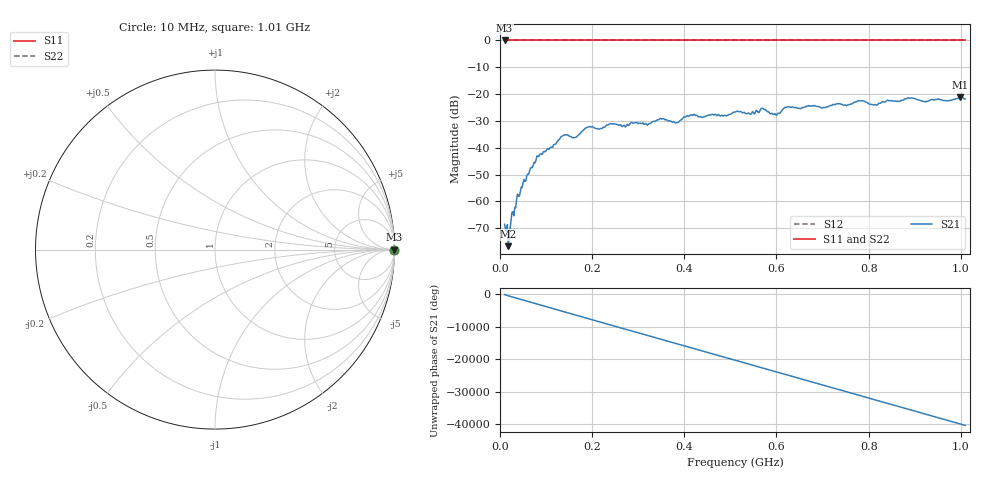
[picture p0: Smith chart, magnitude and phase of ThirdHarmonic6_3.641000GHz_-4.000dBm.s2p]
! 8/17/2025 12:14:01 PM
! C:\ANRITSUVNA\TEMP\TEMP.S2P
! CHANNEL.1
! TR.MEASUREMENT
! RAW.DATA
! RF.CORRECTION.OFF
! AVERAGING.OFF
! IF.BANDWIDTH: 5KHZ
! SWEEPTYPE:  FREQ.SWEEP(Linear)
! Reference Plane Port Info
! PORT:  PORT1  PORT2
! DISTANCE:  0  m  0  m
! TIME:  0  s  0  s
! PHASE.OFFSET:  0  deg.  0  deg.
! LOSS:  0  dB  0  dB
! REF.LOSS:  0  dB  0  dB
! REF.FREQ:  0  Hz  0  Hz
! Power Info
! POWER:  -20  dBm  -20  dBm
! EFF.POWER:  -20  dBm  -20  dBm
! SOURCE.ATTEN:  0  dB  0  dB
! TEST.ATTEN:  0  dB  0  dB
# GHZ S RI R 50.0
! FREQ.GHZ  S11RE  S11IM  S21RE  S21IM  S12RE  S12IM  S22RE  S22IM
!; PortSelection: Port_12
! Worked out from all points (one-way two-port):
!   501 points, 10 MHz to 1.01 GHz, reference 50 ohm
!   highest |S21| = -21.15 dB at 998 MHz (marker M1); lowest = -76.7 dB at 18 MHz (marker M2)
!   lowest |S11| = 0.0 dB at 10 MHz (marker M3)
!   |S11| at or under -10 dB: nowhere
!   |S22| runs from 0.0 to 0.0 dB; largest |S21 - S12| = 1.1
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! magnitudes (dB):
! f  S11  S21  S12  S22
! 10 MHz  0.0  -68.5  0.0  0.0
! 18 MHz  0.0  -76.7  0.0  0.0
! 28 MHz  0.0  -63.9  0.0  0.0
! 48 MHz  0.0  -54.8  0.0  0.0
! 84 MHz  0.0  -43.3  0.0  0.0
! 136 MHz  0.0  -35.6  0.0  0.0
! 162 MHz  0.0  -36.2  0.0  0.0
! 178 MHz  0.0  -33.8  0.0  0.0
! 192 MHz  0.0  -32.2  0.0  0.0
! 322 MHz  0.0  -31.2  0.0  0.0
! 344 MHz  0.0  -29.6  0.0  0.0
! 384 MHz  0.0  -30.6  0.0  0.0
! 418 MHz  0.0  -28.0  0.0  0.0
! 510 MHz  0.0  -26.7  0.0  0.0
! 570 MHz  0.0  -25.3  0.0  0.0
! 598 MHz  0.0  -27.7  0.0  0.0
! 622 MHz  0.0  -24.9  0.0  0.0
! 678 MHz  0.0  -24.4  0.0  0.0
! 814 MHz  0.0  -23.9  0.0  0.0
! 844 MHz  0.0  -22.4  0.0  0.0
! 998 MHz  0.0  -21.1  0.0  0.0
! 1.01 GHz  0.0  -21.9  0.0  0.0
